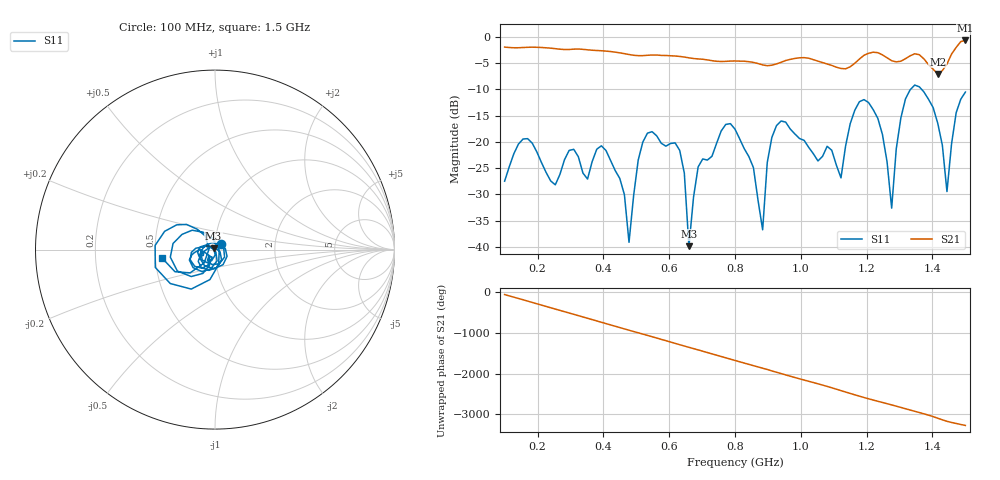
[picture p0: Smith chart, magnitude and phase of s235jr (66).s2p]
! NanoVNA-App
! Date: 2025-09-25 15:04:40
! Start: 100MHz Stop: 1,5GHz Points: 101
! S-Parameter data: F S11 S21 S12 S22
# Hz S RI R 50
!  Frequency  S11_Real  S11_Imag  S21_Real  S21_Imag  S12_Real  S12_Imag  S22_Real  S22_Imag
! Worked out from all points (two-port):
!   101 points, 100 MHz to 1.5 GHz, reference 50 ohm
!   highest |S21| = -0.70 dB at 1.5 GHz (marker M1); lowest = -7.1 dB at 1.416 GHz (marker M2)
!   |S21| within 3 dB of the highest: start of sweep to 625 MHz; 1.189 GHz to 1.254 GHz (65.98 MHz wide, 5.4 % of centre)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
!   lowest |S11| = -39.9 dB at 660 MHz (marker M3), VSWR 1.02, Z = 49.2 + j0.65 ohm
!   |S11| at or under -10 dB: start of sweep to 1.333 GHz; 1.367 GHz to end of sweep
!   S12 and S22 are empty: the file has one direction only
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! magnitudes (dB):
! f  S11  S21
! 100 MHz  -27.5  -2.0
! 156 MHz  -19.5  -2.0
! 338 MHz  -25.9  -2.4
! 408 MHz  -21.6  -2.7
! 478 MHz  -39.1  -3.4
! 520 MHz  -20.0  -3.6
! 576 MHz  -20.3  -3.5
! 632 MHz  -21.6  -3.7
! 660 MHz  -39.9  -4.0
! 688 MHz  -24.8  -4.2
! 800 MHz  -17.6  -4.6
! 884 MHz  -36.7  -5.4
! 898 MHz  -23.9  -5.5
! 926 MHz  -16.9  -5.2
! 1.038 GHz  -22.3  -4.4
! 1.122 GHz  -26.8  -6.0
! 1.206 GHz  -12.5  -3.1
! 1.276 GHz  -32.6  -4.6
! 1.332 GHz  -10.1  -3.6
! 1.416 GHz  -16.5  -7.1
! 1.444 GHz  -29.5  -5.2
! 1.5 GHz  -10.5  -0.7
